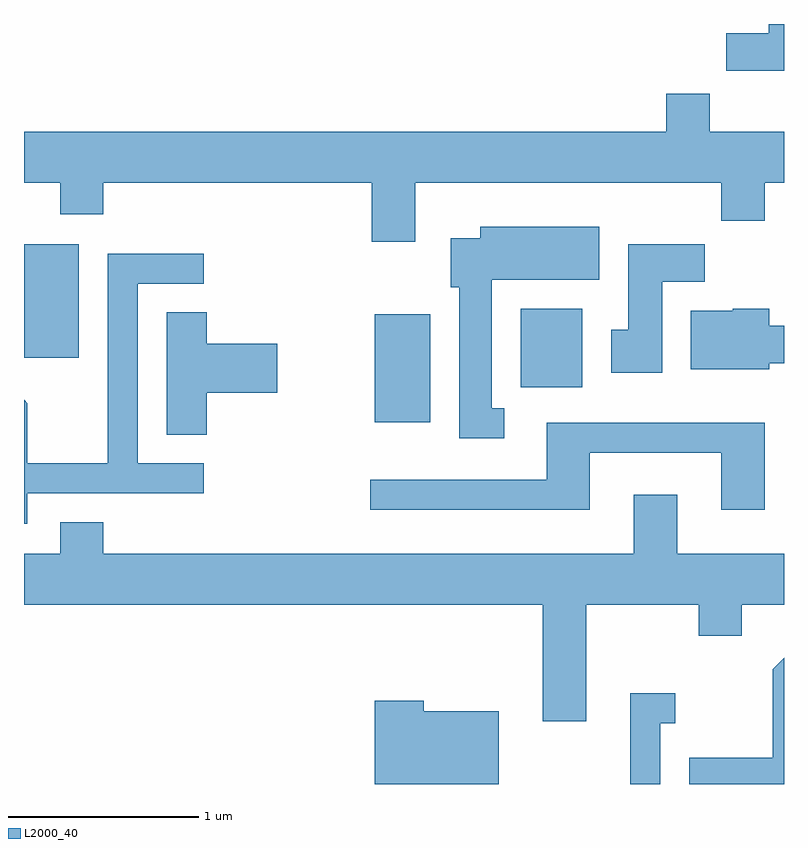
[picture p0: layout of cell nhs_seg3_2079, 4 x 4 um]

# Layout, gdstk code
import gdstk
lib = gdstk.Library(unit=1e-6, precision=1e-09)
def R(c, l, rs):  # rectangles x0, y0, x1, y1
    for r in rs: c.add(gdstk.rectangle(r[:2], r[2:], *l))
def P(c, l, *ps):  # polygons
    for p in ps: c.add(gdstk.Polygon(p, *l))
L2000_40 = (2000, 40)

nhs_seg3_2079 = lib.new_cell('nhs_seg3_2079')
R(nhs_seg3_2079, L2000_40, [(247.456,1195.796,247.749,1196.364), (248.226,1195.981,248.549,1196.394), (245.611,1196.136,245.899,1196.734)])
P(nhs_seg3_2079, L2000_40, [(249.611,1197.892),(249.531,1197.892),(249.531,1197.844),(249.306,1197.844),(249.306,1197.646),(249.611,1197.646)],
  [(247.669,1197.056),(249.281,1197.056),(249.281,1196.856),(249.509,1196.856),(249.509,1197.056),(249.611,1197.056),(249.611,1197.324),(249.219,1197.324),(249.219,1197.524),(248.991,1197.524),(248.991,1197.324),(245.611,1197.324),(245.611,1197.056),(245.801,1197.056),(245.801,1196.891),(246.029,1196.891),(246.029,1197.056),(247.441,1197.056),(247.441,1196.746),(247.669,1196.746)],
  [(248.138,1195.869),(248.074,1195.869),(248.074,1196.546),(248.639,1196.546),(248.639,1196.824),(248.011,1196.824),(248.011,1196.764),(247.856,1196.764),(247.856,1196.506),(247.901,1196.506),(247.901,1195.711),(248.138,1195.711)],
  [(248.969,1196.536),(249.194,1196.536),(249.194,1196.734),(248.791,1196.734),(248.791,1196.284),(248.701,1196.284),(248.701,1196.056),(248.969,1196.056)],
  [(245.629,1195.421),(246.558,1195.421),(246.558,1195.579),(246.209,1195.579),(246.209,1196.526),(246.558,1196.526),(246.558,1196.684),(246.051,1196.684),(246.051,1195.579),(245.629,1195.579),(245.629,1195.897),(245.611,1195.915),(245.611,1195.261),(245.629,1195.261)],
  [(249.534,1196.106),(249.611,1196.106),(249.611,1196.304),(249.534,1196.304),(249.534,1196.394),(249.34,1196.394),(249.34,1196.384),(249.121,1196.384),(249.121,1196.076),(249.534,1196.076)],
  [(246.574,1195.951),(246.944,1195.951),(246.944,1196.209),(246.574,1196.209),(246.574,1196.374),(246.361,1196.374),(246.361,1195.731),(246.574,1195.731)],
  [(248.589,1195.636),(249.281,1195.636),(249.281,1195.336),(249.509,1195.336),(249.509,1195.794),(248.361,1195.794),(248.361,1195.494),(247.433,1195.494),(247.433,1195.336),(248.589,1195.336)],
  [(248.569,1194.836),(249.161,1194.836),(249.161,1194.671),(249.389,1194.671),(249.389,1194.836),(249.611,1194.836),(249.611,1195.104),(249.049,1195.104),(249.049,1195.414),(248.821,1195.414),(248.821,1195.104),(246.029,1195.104),(246.029,1195.269),(245.801,1195.269),(245.801,1195.104),(245.611,1195.104),(245.611,1194.836),(248.341,1194.836),(248.341,1194.221),(248.569,1194.221)],
  [(249.611,1194.557),(249.551,1194.497),(249.551,1194.029),(249.111,1194.029),(249.111,1193.892),(249.611,1193.892)],
  [(248.959,1194.211),(249.038,1194.211),(249.038,1194.369),(248.801,1194.369),(248.801,1193.892),(248.959,1193.892)],
  [(248.109,1194.274),(247.714,1194.274),(247.714,1194.329),(247.456,1194.329),(247.456,1193.892),(248.109,1193.892)])

lib.write_gds('nhs_seg3_2079.gds')
